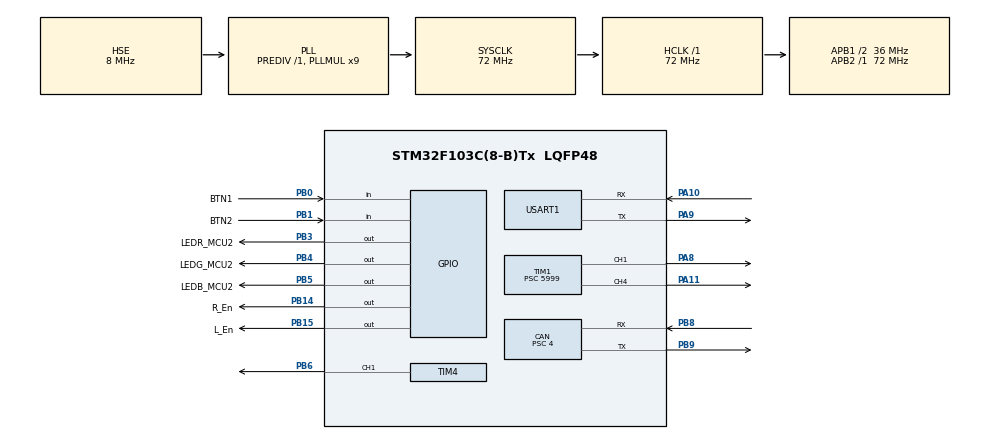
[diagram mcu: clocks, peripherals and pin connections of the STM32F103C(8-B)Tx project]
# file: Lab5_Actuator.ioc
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CAN.BS1=CAN_BS1_13TQ
CAN.BS2=CAN_BS2_4TQ
CAN.CalculateBaudRate=500000
CAN.CalculateTimeBit=2000
CAN.CalculateTimeQuantum=111.11111111111111
CAN.Prescaler=4
CAN.SJW=CAN_SJW_2TQ
Mcu.Family=STM32F1
Mcu.Name=STM32F103C(8-B)Tx
Mcu.Package=LQFP48
NVIC.CAN1_RX1_IRQn=true\:0\:0\:false\:false\:true\:true\:true\:true
NVIC.PriorityGroup=NVIC_PRIORITYGROUP_4
NVIC.USB_LP_CAN1_RX0_IRQn=true\:0\:0\:false\:false\:true\:true\:true\:true
PA10.Mode=Asynchronous
PA10.Signal=USART1_RX
PA11.Signal=S_TIM1_CH4
PA13.Mode=Serial_Wire
PA13.Signal=SYS_JTMS-SWDIO
PA14.Mode=Serial_Wire
PA14.Signal=SYS_JTCK-SWCLK
PA8.Signal=S_TIM1_CH1
PA9.Mode=Asynchronous
PA9.Signal=USART1_TX
PB0.GPIO_Label=BTN1
PB0.GPIO_PuPd=GPIO_NOPULL
PB0.Signal=GPIO_Input
PB1.GPIO_Label=BTN2
PB1.GPIO_PuPd=GPIO_NOPULL
PB1.Signal=GPIO_Input
PB14.GPIO_Label=R_En
PB14.GPIO_Speed=GPIO_SPEED_FREQ_HIGH
PB14.Signal=GPIO_Output
PB15.GPIO_Label=L_En
PB15.GPIO_Speed=GPIO_SPEED_FREQ_HIGH
PB15.Signal=GPIO_Output
PB3.GPIO_Label=LEDR_MCU2
PB3.GPIO_Speed=GPIO_SPEED_FREQ_HIGH
PB3.Signal=GPIO_Output
PB4.GPIO_Label=LEDG_MCU2 
PB4.GPIO_Speed=GPIO_SPEED_FREQ_HIGH
PB4.Signal=GPIO_Output
PB5.GPIO_Label=LEDB_MCU2
PB5.GPIO_Speed=GPIO_SPEED_FREQ_HIGH
PB5.Signal=GPIO_Output
PB6.Signal=S_TIM4_CH1
PB8.Mode=CAN_Activate
PB8.Signal=CAN_RX
PB9.Mode=CAN_Activate
PB9.Signal=CAN_TX
PD0-OSC_IN.Mode=HSE-External-Oscillator
PD0-OSC_IN.Signal=RCC_OSC_IN
PD1-OSC_OUT.Mode=HSE-External-Oscillator
PD1-OSC_OUT.Signal=RCC_OSC_OUT
ProjectManager.HeapSize=0x200
ProjectManager.StackSize=0x400
ProjectManager.TargetToolchain=STM32CubeIDE
RCC.AHBFreq_Value=72000000
RCC.APB1CLKDivider=RCC_HCLK_DIV2
RCC.APB1Freq_Value=36000000
RCC.APB1TimFreq_Value=72000000
RCC.APB2Freq_Value=72000000
RCC.APB2TimFreq_Value=72000000
RCC.HCLKFreq_Value=72000000
RCC.PLLMUL=RCC_PLL_MUL9
RCC.PLLSourceVirtual=RCC_PLLSOURCE_HSE
RCC.SYSCLKFreq_VALUE=72000000
RCC.SYSCLKSource=RCC_SYSCLKSOURCE_PLLCLK
RCC.USBFreq_Value=72000000
SH.S_TIM1_CH1.0=TIM1_CH1,PWM Generation1 CH1
SH.S_TIM1_CH4.0=TIM1_CH4,PWM Generation4 CH4
SH.S_TIM4_CH1.0=TIM4_CH1,PWM Generation1 CH1
TIM1.Channel-PWM\ Generation1\ CH1=TIM_CHANNEL_1
TIM1.Channel-PWM\ Generation4\ CH4=TIM_CHANNEL_4
TIM1.Period=1
TIM1.Prescaler=5999
TIM4.Channel-PWM\ Generation1\ CH1=TIM_CHANNEL_1
TIM4.Period=39
TIM4.Prescaler=35999
USART1.VirtualMode=VM_ASYNC
board=custom

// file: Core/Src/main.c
/* USER CODE BEGIN Header */
/**
  ******************************************************************************
  * @file           : main.c
  * @brief          : Main program body
  ******************************************************************************
  * @attention
  *
  * Copyright (c) 2023 STMicroelectronics.
  * All rights reserved.
  *
  * This software is licensed under terms that can be found in the LICENSE file
  * in the root directory of this software component.
  * If no LICENSE file comes with this software, it is provided AS-IS.
  *
  ******************************************************************************
  */
/* USER CODE END Header */
#include "main.h"

/* USER CODE BEGIN Includes */
#include <stdio.h>
#include <string.h>
/* USER CODE END Includes */

CAN_HandleTypeDef hcan;

TIM_HandleTypeDef htim1;
TIM_HandleTypeDef htim4;

UART_HandleTypeDef huart1;

void SystemClock_Config(void);
static void MX_GPIO_Init(void);
static void MX_USART1_UART_Init(void);
static void MX_TIM1_Init(void);
static void MX_CAN_Init(void);
static void MX_TIM4_Init(void);
/* USER CODE BEGIN PFP */
void HAL_CAN_RxFifo1MsgPendingCallback(CAN_HandleTypeDef *hcan);
void run_service();

/* USER CODE END PFP */

/* USER CODE BEGIN 0 */
CAN_TxHeaderTypeDef TxHeader;
CAN_RxHeaderTypeDef RxHeader;
uint8_t TxData[8];
uint8_t RxData[8];

uint32_t TxMailbox;

int check = 0;
/* USER CODE END 0 */

int main(void)
{

  /* MCU Configuration--------------------------------------------------------*/

  /* Reset of all peripherals, Initializes the Flash interface and the Systick. */
  HAL_Init();

  /* Configure the system clock */
  SystemClock_Config();

  /* Initialize all configured peripherals */
  MX_GPIO_Init();
  MX_USART1_UART_Init();
  MX_TIM1_Init();
  MX_CAN_Init();
  MX_TIM4_Init();
  /* USER CODE BEGIN 2 */
  HAL_TIM_PWM_Start(&htim1,TIM_CHANNEL_4);
  HAL_TIM_PWM_Start(&htim4,TIM_CHANNEL_1);
  HAL_CAN_Start(&hcan);

  if (HAL_CAN_ActivateNotification(&hcan, CAN_IT_RX_FIFO1_MSG_PENDING) != HAL_OK)
    {
  	  Error_Handler();
    }
  /* USER CODE END 2 */

  /* Infinite loop */
  while (1)
  {
	  __HAL_TIM_SET_COMPARE(&htim1, TIM_CHANNEL_4, 100);
		  HAL_GPIO_WritePin(GPIOB, R_En_Pin, GPIO_PIN_SET);
		  HAL_GPIO_WritePin(GPIOB, L_En_Pin, GPIO_PIN_SET);    /* USER CODE BEGIN 3 */
  }
}

void SystemClock_Config(void)
{
  RCC_OscInitTypeDef RCC_OscInitStruct = {0};
  RCC_ClkInitTypeDef RCC_ClkInitStruct = {0};

  /** Initializes the RCC Oscillators according to the specified parameters
  * in the RCC_OscInitTypeDef structure.
  */
  RCC_OscInitStruct.OscillatorType = RCC_OSCILLATORTYPE_HSE;
  RCC_OscInitStruct.HSEState = RCC_HSE_ON;
  RCC_OscInitStruct.HSEPredivValue = RCC_HSE_PREDIV_DIV1;
  RCC_OscInitStruct.HSIState = RCC_HSI_ON;
  RCC_OscInitStruct.PLL.PLLState = RCC_PLL_ON;
  RCC_OscInitStruct.PLL.PLLSource = RCC_PLLSOURCE_HSE;
  RCC_OscInitStruct.PLL.PLLMUL = RCC_PLL_MUL9;
  if (HAL_RCC_OscConfig(&RCC_OscInitStruct) != HAL_OK)
  {
    Error_Handler();
  }

  /** Initializes the CPU, AHB and APB buses clocks
  */
  RCC_ClkInitStruct.ClockType = RCC_CLOCKTYPE_HCLK|RCC_CLOCKTYPE_SYSCLK
                              |RCC_CLOCKTYPE_PCLK1|RCC_CLOCKTYPE_PCLK2;
  RCC_ClkInitStruct.SYSCLKSource = RCC_SYSCLKSOURCE_PLLCLK;
  RCC_ClkInitStruct.AHBCLKDivider = RCC_SYSCLK_DIV1;
  RCC_ClkInitStruct.APB1CLKDivider = RCC_HCLK_DIV2;
  RCC_ClkInitStruct.APB2CLKDivider = RCC_HCLK_DIV1;

  if (HAL_RCC_ClockConfig(&RCC_ClkInitStruct, FLASH_LATENCY_2) != HAL_OK)
  {
    Error_Handler();
  }
}

static void MX_CAN_Init(void)
{

  hcan.Instance = CAN1;
  hcan.Init.Prescaler = 4;
  hcan.Init.Mode = CAN_MODE_NORMAL;
  hcan.Init.SyncJumpWidth = CAN_SJW_2TQ;
  hcan.Init.TimeSeg1 = CAN_BS1_13TQ;
  hcan.Init.TimeSeg2 = CAN_BS2_4TQ;
  hcan.Init.TimeTriggeredMode = DISABLE;
  hcan.Init.AutoBusOff = DISABLE;
  hcan.Init.AutoWakeUp = DISABLE;
  hcan.Init.AutoRetransmission = DISABLE;
  hcan.Init.ReceiveFifoLocked = DISABLE;
  hcan.Init.TransmitFifoPriority = DISABLE;
  if (HAL_CAN_Init(&hcan) != HAL_OK)
  {
    Error_Handler();
  }
  /* USER CODE BEGIN CAN_Init 2 */
   CAN_FilterTypeDef canfilterconfig;

   canfilterconfig.FilterActivation = CAN_FILTER_ENABLE;
   canfilterconfig.FilterBank = 12;  // which filter bank to use from the assigned ones
   canfilterconfig.FilterFIFOAssignment = CAN_FILTER_FIFO1;
   canfilterconfig.FilterIdHigh = 0x012<<5;
   canfilterconfig.FilterIdLow = 0;
   canfilterconfig.FilterMaskIdHigh = 0x012<<5;
   canfilterconfig.FilterMaskIdLow = 0x0000;
   canfilterconfig.FilterMode = CAN_FILTERMODE_IDMASK;
   canfilterconfig.FilterScale = CAN_FILTERSCALE_32BIT;
   canfilterconfig.SlaveStartFilterBank = 13;  // how many filters to assign to the CAN1 (master can)

   HAL_CAN_ConfigFilter(&hcan, &canfilterconfig);
  /* USER CODE END CAN_Init 2 */

}

static void MX_TIM1_Init(void)
{

  TIM_MasterConfigTypeDef sMasterConfig = {0};
  TIM_OC_InitTypeDef sConfigOC = {0};
  TIM_BreakDeadTimeConfigTypeDef sBreakDeadTimeConfig = {0};

  htim1.Instance = TIM1;
  htim1.Init.Prescaler = 5999;
  htim1.Init.CounterMode = TIM_COUNTERMODE_UP;
  htim1.Init.Period = 1;
  htim1.Init.ClockDivision = TIM_CLOCKDIVISION_DIV1;
  htim1.Init.RepetitionCounter = 0;
  htim1.Init.AutoReloadPreload = TIM_AUTORELOAD_PRELOAD_DISABLE;
  if (HAL_TIM_PWM_Init(&htim1) != HAL_OK)
  {
    Error_Handler();
  }
  sMasterConfig.MasterOutputTrigger = TIM_TRGO_RESET;
  sMasterConfig.MasterSlaveMode = TIM_MASTERSLAVEMODE_DISABLE;
  if (HAL_TIMEx_MasterConfigSynchronization(&htim1, &sMasterConfig) != HAL_OK)
  {
    Error_Handler();
  }
  sConfigOC.OCMode = TIM_OCMODE_PWM1;
  sConfigOC.Pulse = 0;
  sConfigOC.OCPolarity = TIM_OCPOLARITY_HIGH;
  sConfigOC.OCNPolarity = TIM_OCNPOLARITY_HIGH;
  sConfigOC.OCFastMode = TIM_OCFAST_DISABLE;
  sConfigOC.OCIdleState = TIM_OCIDLESTATE_RESET;
  sConfigOC.OCNIdleState = TIM_OCNIDLESTATE_RESET;
  if (HAL_TIM_PWM_ConfigChannel(&htim1, &sConfigOC, TIM_CHANNEL_1) != HAL_OK)
  {
    Error_Handler();
  }
  if (HAL_TIM_PWM_ConfigChannel(&htim1, &sConfigOC, TIM_CHANNEL_4) != HAL_OK)
  {
    Error_Handler();
  }
  sBreakDeadTimeConfig.OffStateRunMode = TIM_OSSR_DISABLE;
  sBreakDeadTimeConfig.OffStateIDLEMode = TIM_OSSI_DISABLE;
  sBreakDeadTimeConfig.LockLevel = TIM_LOCKLEVEL_OFF;
  sBreakDeadTimeConfig.DeadTime = 0;
  sBreakDeadTimeConfig.BreakState = TIM_BREAK_DISABLE;
  sBreakDeadTimeConfig.BreakPolarity = TIM_BREAKPOLARITY_HIGH;
  sBreakDeadTimeConfig.AutomaticOutput = TIM_AUTOMATICOUTPUT_DISABLE;
  if (HAL_TIMEx_ConfigBreakDeadTime(&htim1, &sBreakDeadTimeConfig) != HAL_OK)
  {
    Error_Handler();
  }
  HAL_TIM_MspPostInit(&htim1);

}

static void MX_TIM4_Init(void)
{

  TIM_MasterConfigTypeDef sMasterConfig = {0};
  TIM_OC_InitTypeDef sConfigOC = {0};

  htim4.Instance = TIM4;
  htim4.Init.Prescaler = 35999;
  htim4.Init.CounterMode = TIM_COUNTERMODE_UP;
  htim4.Init.Period = 39;
  htim4.Init.ClockDivision = TIM_CLOCKDIVISION_DIV1;
  htim4.Init.AutoReloadPreload = TIM_AUTORELOAD_PRELOAD_DISABLE;
  if (HAL_TIM_PWM_Init(&htim4) != HAL_OK)
  {
    Error_Handler();
  }
  sMasterConfig.MasterOutputTrigger = TIM_TRGO_RESET;
  sMasterConfig.MasterSlaveMode = TIM_MASTERSLAVEMODE_DISABLE;
  if (HAL_TIMEx_MasterConfigSynchronization(&htim4, &sMasterConfig) != HAL_OK)
  {
    Error_Handler();
  }
  sConfigOC.OCMode = TIM_OCMODE_PWM1;
  sConfigOC.Pulse = 0;
  sConfigOC.OCPolarity = TIM_OCPOLARITY_HIGH;
  sConfigOC.OCFastMode = TIM_OCFAST_DISABLE;
  if (HAL_TIM_PWM_ConfigChannel(&htim4, &sConfigOC, TIM_CHANNEL_1) != HAL_OK)
  {
    Error_Handler();
  }
  HAL_TIM_MspPostInit(&htim4);

}

static void MX_USART1_UART_Init(void)
{

  huart1.Instance = USART1;
  huart1.Init.BaudRate = 115200;
  huart1.Init.WordLength = UART_WORDLENGTH_8B;
  huart1.Init.StopBits = UART_STOPBITS_1;
  huart1.Init.Parity = UART_PARITY_NONE;
  huart1.Init.Mode = UART_MODE_TX_RX;
  huart1.Init.HwFlowCtl = UART_HWCONTROL_NONE;
  huart1.Init.OverSampling = UART_OVERSAMPLING_16;
  if (HAL_UART_Init(&huart1) != HAL_OK)
  {
    Error_Handler();
  }

}

static void MX_GPIO_Init(void)
{
  GPIO_InitTypeDef GPIO_InitStruct = {0};

  /* GPIO Ports Clock Enable */
  __HAL_RCC_GPIOD_CLK_ENABLE();
  __HAL_RCC_GPIOB_CLK_ENABLE();
  __HAL_RCC_GPIOA_CLK_ENABLE();

  /*Configure GPIO pin Output Level */
  HAL_GPIO_WritePin(GPIOB, R_En_Pin|L_En_Pin|LEDR_MCU2_Pin|LEDG_MCU2_Pin
                          |LEDB_MCU2_Pin, GPIO_PIN_RESET);

  /*Configure GPIO pins : BTN1_Pin BTN2_Pin */
  GPIO_InitStruct.Pin = BTN1_Pin|BTN2_Pin;
  GPIO_InitStruct.Mode = GPIO_MODE_INPUT;
  GPIO_InitStruct.Pull = GPIO_NOPULL;
  HAL_GPIO_Init(GPIOB, &GPIO_InitStruct);

  /*Configure GPIO pins : R_En_Pin L_En_Pin LEDR_MCU2_Pin LEDG_MCU2_Pin
                           LEDB_MCU2_Pin */
  GPIO_InitStruct.Pin = R_En_Pin|L_En_Pin|LEDR_MCU2_Pin|LEDG_MCU2_Pin
                          |LEDB_MCU2_Pin;
  GPIO_InitStruct.Mode = GPIO_MODE_OUTPUT_PP;
  GPIO_InitStruct.Pull = GPIO_NOPULL;
  GPIO_InitStruct.Speed = GPIO_SPEED_FREQ_HIGH;
  HAL_GPIO_Init(GPIOB, &GPIO_InitStruct);

}

/* USER CODE BEGIN 4 */

void HAL_CAN_RxFifo1MsgPendingCallback(CAN_HandleTypeDef *hcan)
{
	 CAN_RxHeaderTypeDef rxHeader;
	    uint8_t rxData[8]={0};

  if (HAL_CAN_GetRxMessage(hcan, CAN_RX_FIFO1, &rxHeader, RxData) != HAL_OK)
  {
	Error_Handler();
  }
  if ((rxHeader.StdId == 0x012))
  {
	  if (rxData[0] == 1){
		 __HAL_TIM_SET_COMPARE(&htim4, TIM_CHANNEL_1, 1.0555);//queo phai
	  }
	  else if (rxData[2] == 1){
	             __HAL_TIM_SET_COMPARE(&htim4, TIM_CHANNEL_1, 7.0555); //queo trai
	  }
	  else if (rxData[1] == 1 && rxData[3] == 1 ){
	 	             __HAL_TIM_SET_COMPARE(&htim4, TIM_CHANNEL_1, 5); //ve giua
	 	  }
  }

}

/* USER CODE END 4 */

void Error_Handler(void)
{
  __disable_irq();
}
